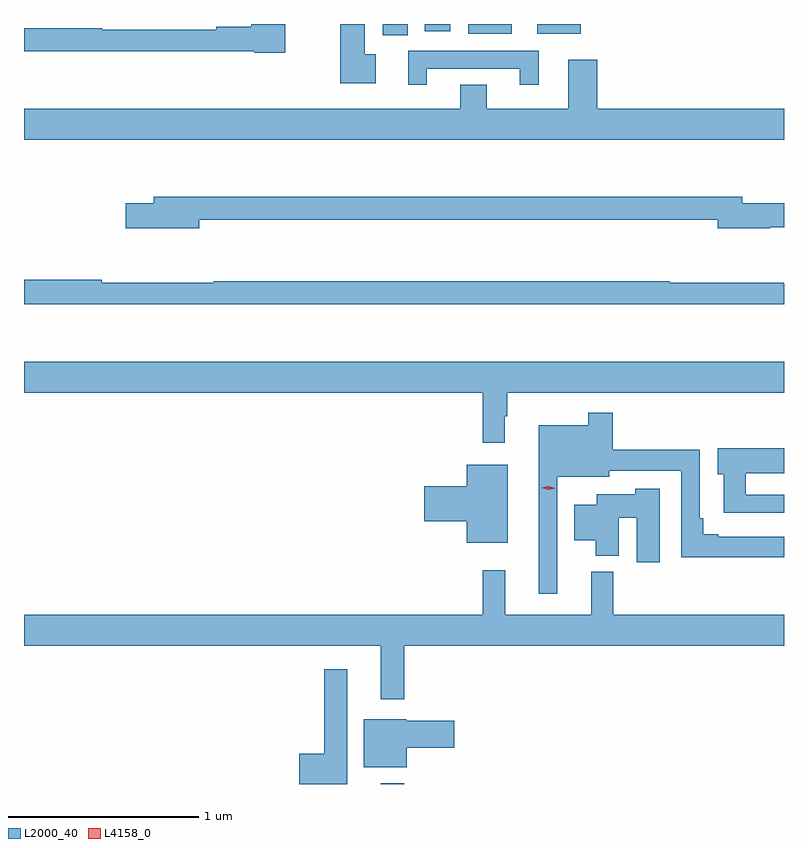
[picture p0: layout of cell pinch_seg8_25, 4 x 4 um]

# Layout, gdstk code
import gdstk
lib = gdstk.Library(unit=1e-6, precision=1e-09)
def R(c, l, rs):  # rectangles x0, y0, x1, y1
    for r in rs: c.add(gdstk.rectangle(r[:2], r[2:], *l))
def P(c, l, *ps):  # polygons
    for p in ps: c.add(gdstk.Polygon(p, *l))
L2000_40 = (2000, 40)
L4158_0 = (4158, 0)

pinch_seg8_25 = lib.new_cell('pinch_seg8_25')
R(pinch_seg8_25, L2000_40, [(989.189,1146.409,989.311,1146.412), (989.198,1150.35,989.332,1150.409), (989.648,1150.358,989.878,1150.409), (990.011,1150.358,990.241,1150.409), (989.42,1150.371,989.554,1150.409)])
P(pinch_seg8_25, L2000_40, [(989.161,1150.25),(989.104,1150.25),(989.104,1150.409),(988.975,1150.409),(988.975,1150.097),(989.161,1150.097)],
  [(988.686,1150.409),(988.508,1150.409),(988.508,1150.394),(988.324,1150.394),(988.324,1150.379),(987.724,1150.379),(987.724,1150.387),(987.311,1150.387),(987.311,1150.266),(988.524,1150.266),(988.524,1150.258),(988.686,1150.258)],
  [(989.431,1150.173),(989.921,1150.173),(989.921,1150.089),(990.019,1150.089),(990.019,1150.269),(989.333,1150.269),(989.333,1150.089),(989.431,1150.089)],
  [(991.311,1149.964),(990.329,1149.964),(990.329,1150.222),(990.176,1150.222),(990.176,1149.964),(989.746,1149.964),(989.746,1150.088),(989.606,1150.088),(989.606,1149.964),(987.311,1149.964),(987.311,1149.8),(991.311,1149.8)],
  [(988.234,1149.378),(990.962,1149.378),(990.962,1149.335),(991.238,1149.335),(991.238,1149.338),(991.311,1149.338),(991.311,1149.465),(991.09,1149.465),(991.09,1149.499),(987.995,1149.499),(987.995,1149.465),(987.846,1149.465),(987.846,1149.335),(988.234,1149.335)],
  [(991.311,1149.042),(991.31,1149.042),(991.31,1149.047),(990.71,1149.047),(990.71,1149.055),(988.31,1149.055),(988.31,1149.047),(987.719,1149.047),(987.719,1149.062),(987.311,1149.062),(987.311,1148.934),(991.311,1148.934)],
  [(989.842,1148.345),(989.854,1148.345),(989.854,1148.468),(991.311,1148.468),(991.311,1148.632),(987.311,1148.632),(987.311,1148.468),(989.725,1148.468),(989.725,1148.205),(989.842,1148.205)],
  [(990.117,1148.027),(990.391,1148.027),(990.391,1148.058),(990.771,1148.058),(990.771,1147.602),(991.311,1147.602),(991.311,1147.71),(990.964,1147.71),(990.964,1147.723),(990.887,1147.723),(990.887,1147.807),(990.867,1147.807),(990.867,1148.167),(990.41,1148.167),(990.41,1148.362),(990.282,1148.362),(990.282,1148.296),(990.02,1148.296),(990.02,1147.41),(990.117,1147.41)],
  [(991.311,1147.932),(991.109,1147.932),(991.109,1148.045),(991.311,1148.045),(991.311,1148.175),(990.962,1148.175),(990.962,1148.038),(990.993,1148.038),(990.993,1147.836),(991.311,1147.836)],
  [(989.857,1148.089),(989.642,1148.089),(989.642,1147.976),(989.418,1147.976),(989.418,1147.793),(989.642,1147.793),(989.642,1147.679),(989.857,1147.679)],
  [(990.658,1147.963),(990.529,1147.963),(990.529,1147.933),(990.326,1147.933),(990.326,1147.879),(990.206,1147.879),(990.206,1147.691),(990.32,1147.691),(990.32,1147.61),(990.442,1147.61),(990.442,1147.811),(990.536,1147.811),(990.536,1147.575),(990.658,1147.575)],
  [(989.311,1147.136),(991.311,1147.136),(991.311,1147.3),(990.413,1147.3),(990.413,1147.525),(990.296,1147.525),(990.296,1147.3),(989.843,1147.3),(989.843,1147.534),(989.725,1147.534),(989.725,1147.3),(987.311,1147.3),(987.311,1147.136),(989.189,1147.136),(989.189,1146.855),(989.311,1146.855)],
  [(989.011,1147.012),(988.89,1147.012),(988.89,1146.568),(988.76,1146.568),(988.76,1146.409),(989.011,1146.409)],
  [(989.326,1146.599),(989.575,1146.599),(989.575,1146.741),(989.322,1146.741),(989.322,1146.751),(989.099,1146.751),(989.099,1146.497),(989.326,1146.497)])
P(pinch_seg8_25, L4158_0, [(990.071,1147.957),(990.036,1147.968),(990.035,1147.968),(990.036,1147.969),(990.072,1147.977),(990.107,1147.965),(990.107,1147.965),(990.107,1147.965)])

lib.write_gds('pinch_seg8_25.gds')
